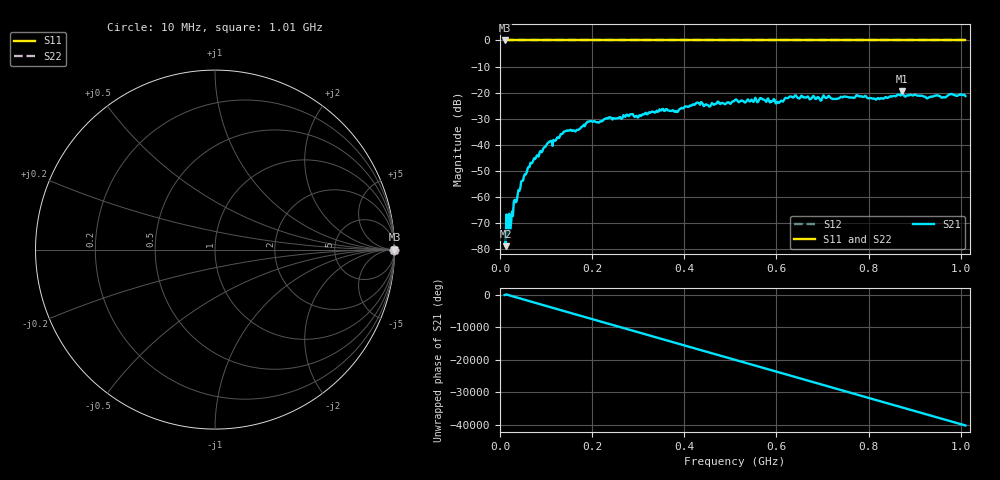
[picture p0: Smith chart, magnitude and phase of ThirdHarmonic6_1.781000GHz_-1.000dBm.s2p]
! 8/16/2025 9:32:00 PM
! C:\ANRITSUVNA\TEMP\TEMP.S2P
! CHANNEL.1
! TR.MEASUREMENT
! RAW.DATA
! RF.CORRECTION.OFF
! AVERAGING.OFF
! IF.BANDWIDTH: 5KHZ
! SWEEPTYPE:  FREQ.SWEEP(Linear)
! Reference Plane Port Info
! PORT:  PORT1  PORT2
! DISTANCE:  0  m  0  m
! TIME:  0  s  0  s
! PHASE.OFFSET:  0  deg.  0  deg.
! LOSS:  0  dB  0  dB
! REF.LOSS:  0  dB  0  dB
! REF.FREQ:  0  Hz  0  Hz
! Power Info
! POWER:  -20  dBm  -20  dBm
! EFF.POWER:  -20  dBm  -20  dBm
! SOURCE.ATTEN:  0  dB  0  dB
! TEST.ATTEN:  0  dB  0  dB
# GHZ S RI R 50.0
! FREQ.GHZ  S11RE  S11IM  S21RE  S21IM  S12RE  S12IM  S22RE  S22IM
!; PortSelection: Port_12
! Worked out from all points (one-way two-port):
!   501 points, 10 MHz to 1.01 GHz, reference 50 ohm
!   highest |S21| = -19.50 dB at 872 MHz (marker M1); lowest = -78.9 dB at 12 MHz (marker M2)
!   lowest |S11| = 0.0 dB at 10 MHz (marker M3)
!   |S11| at or under -10 dB: nowhere
!   |S22| runs from 0.0 to 0.0 dB; largest |S21 - S12| = 1.1
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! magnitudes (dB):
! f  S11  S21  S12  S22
! 10 MHz  0.0  -73.1  0.0  0.0
! 12 MHz  0.0  -78.9  0.0  0.0
! 26 MHz  0.0  -65.6  0.0  0.0
! 30 MHz  0.0  -61.7  0.0  0.0
! 50 MHz  0.0  -53.7  0.0  0.0
! 70 MHz  0.0  -46.9  0.0  0.0
! 106 MHz  0.0  -39.0  0.0  0.0
! 142 MHz  0.0  -34.8  0.0  0.0
! 178 MHz  0.0  -33.0  0.0  0.0
! 194 MHz  0.0  -31.0  0.0  0.0
! 344 MHz  0.0  -27.3  0.0  0.0
! 382 MHz  0.0  -27.0  0.0  0.0
! 428 MHz  0.0  -23.9  0.0  0.0
! 454 MHz  0.0  -25.3  0.0  0.0
! 510 MHz  0.0  -22.8  0.0  0.0
! 568 MHz  0.0  -22.3  0.0  0.0
! 602 MHz  0.0  -23.5  0.0  0.0
! 630 MHz  0.0  -21.4  0.0  0.0
! 678 MHz  0.0  -21.7  0.0  0.0
! 844 MHz  0.0  -21.8  0.0  0.0
! 872 MHz  0.0  -19.5  0.0  0.0
! 1.01 GHz  0.0  -21.3  0.0  0.0
